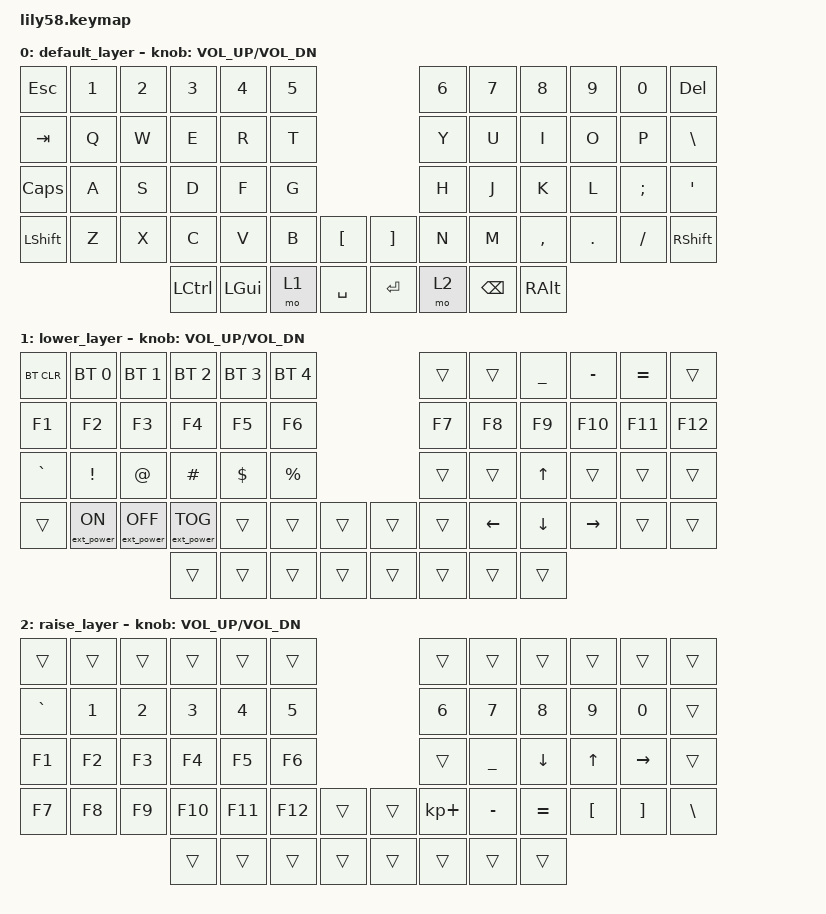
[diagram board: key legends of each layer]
/*
 * Copyright (c) 2020 The ZMK Contributors
 *
 * SPDX-License-Identifier: MIT
 */

#include <behaviors.dtsi>
#include <dt-bindings/zmk/keys.h>
#include <dt-bindings/zmk/bt.h>
#include <dt-bindings/zmk/ext_power.h>

/ {
	keymap {
		compatible = "zmk,keymap";

		default_layer {
// ------------------------------------------------------------------------------------------------------------
// |  ESC  |  1  |  2  |  3   |  4   |  5   |                   |  6   |  7    |  8    |  9   |   0   |  DEL  |
// |  TAB  |  Q  |  W  |  E   |  R   |  T   |                   |  Y   |  U    |  I    |  O   |   P   |   \   |
// |  CAPS |  A  |  S  |  D   |  F   |  G   |                   |  H   |  J    |  K    |  L   |   ;   |   '   |
// | SHIFT |  Z  |  X  |  C   |  V   |  B   |   "["  |  |  "]"  |  N   |  M    |  ,    |  .   |   /   |  SHIFT|
//                     | ALT  | GUI  | LOWER|  SPACE |  | ENTER | RAISE|  BSPC | GUI   |
			bindings = <
&kp ESC   &kp N1 &kp N2 &kp N3   &kp N4   &kp N5                     &kp N6 &kp N7   &kp N8    &kp N9  &kp N0   &kp DEL
&kp TAB   &kp Q  &kp W  &kp E    &kp R    &kp T                      &kp Y  &kp U    &kp I     &kp O   &kp P    &kp BSLH
&kp CAPS  &kp A  &kp S  &kp D    &kp F    &kp G                      &kp H  &kp J    &kp K     &kp L   &kp SEMI &kp SQT
&kp LSHFT &kp Z  &kp X  &kp C    &kp V    &kp B  &kp LBKT   &kp RBKT &kp N  &kp M    &kp COMMA &kp DOT &kp FSLH &kp RSHFT
                        &kp LCTRL &kp LGUI &mo 1  &kp SPACE  &kp RET  &mo 2  &kp BSPC &kp RALT
			>;

			sensor-bindings = <&inc_dec_kp C_VOL_UP C_VOL_DN>;
		};

		lower_layer {
// ------------------------------------------------------------------------------------------------------------
// | BTCLR | BT1 | BT2 |  BT3 |  BT4 |  BT5 |                   |      |       |  _    |  -   |  =    |       |
// |  F1   |  F2 |  F3 |  F4  |  F5  |  F6  |                   |  F7  |  F8   |  F9   |  F10 |  F11  |  F12  |
// |   `   |  !  |  @  |  #   |  $   |  %   |                   |      |       |  UP   |      |       |       |
// |       |     |     |      |      |      |        |  |       |      |  LEFT |  DOWN | RIGHT|       |       |
//                     |      |      |      |        |  |       |      |       |       |
			bindings = <
&bt BT_CLR &bt BT_SEL 0     &bt BT_SEL 1      &bt BT_SEL 2      &bt BT_SEL 3 &bt BT_SEL 4                 &trans    &trans    &kp UNDER       &kp MINUS &kp EQUAL &trans
&kp F1     &kp F2           &kp F3            &kp F4            &kp F5       &kp F6                       &kp F7    &kp F8    &kp F9          &kp F10   &kp F11   &kp F12
&kp GRAVE  &kp EXCL         &kp AT            &kp HASH          &kp DOLLAR   &kp PRCNT                    &trans    &trans    &kp UP          &trans    &trans    &trans
&trans     &ext_power EP_ON &ext_power EP_OFF &ext_power EP_TOG &trans       &trans    &trans   &trans    &trans    &kp LEFT  &kp DOWN        &kp RIGHT &trans    &trans
                                              &trans            &trans       &trans    &trans   &trans    &trans    &trans    &trans
			>;

			sensor-bindings = <&inc_dec_kp C_VOL_UP C_VOL_DN>;
		};

		raise_layer {
// ------------------------------------------------------------------------------------------------------------
// |       |     |     |      |      |      |                   |      |       |       |      |       |       |
// |   `   |  1  |  2  |  3   |  4   |  5   |                   |  6   |   7   |   8   |  9   |   0   |       |
// |   F1  |  F2 |  F3 |  F4  |  F5  |  F6  |                   |      |   _   |       |      |       |       |
// |   F7  |  F8 |  F9 |  F10 |  F11 |  F12 |        |  |       |  +   |   -   |   =   |  [   |   ]   |   \   |
//                     |      |      |      |        |  |       |      |       |       |
			bindings = <
&trans    &trans &trans &trans  &trans  &trans                       &trans      &trans    &trans    &trans   &trans    &trans
&kp GRAVE &kp N1 &kp N2 &kp N3  &kp N4  &kp N5                       &kp N6      &kp N7    &kp N8    &kp N9   &kp N0    &trans
&kp F1    &kp F2 &kp F3 &kp F4  &kp F5  &kp F6                       &trans      &kp UNDER &kp DOWN  &kp UP   &kp RIGHT &trans
&kp F7    &kp F8 &kp F9 &kp F10 &kp F11 &kp F12   &trans   &trans    &kp KP_PLUS &kp MINUS &kp EQUAL &kp LBKT &kp RBKT  &kp BSLH
                        &trans  &trans  &trans    &trans   &trans    &trans      &trans    &trans
			>;

			sensor-bindings = <&inc_dec_kp C_VOL_UP C_VOL_DN>;
		};
	};
};
